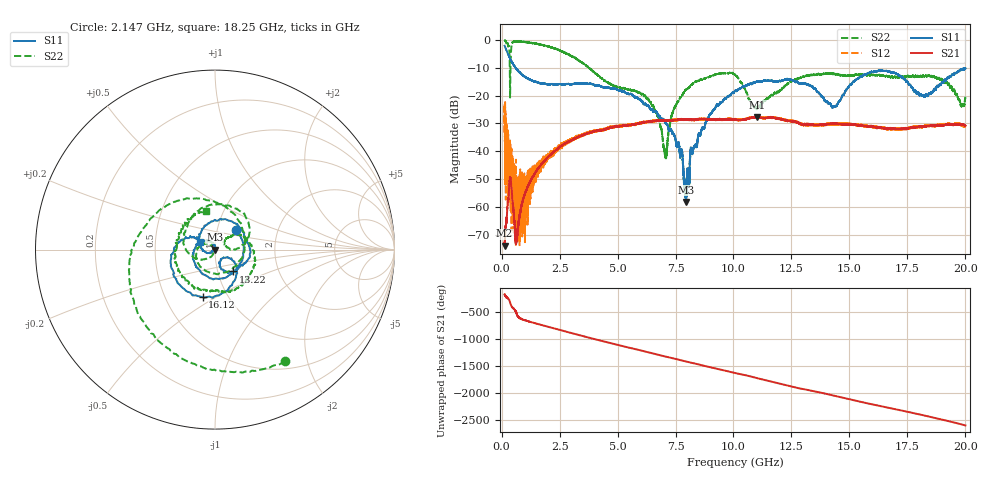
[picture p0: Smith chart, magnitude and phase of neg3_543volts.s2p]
!Created with skrf (http://scikit-rf.org).
# GHz S RI R 50.0
!freq ReS11 ImS11 ReS21 ImS21 ReS12 ImS12 ReS22 ImS22
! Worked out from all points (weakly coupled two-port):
!   20013 points, 130 MHz to 20 GHz, reference 50 ohm
!   highest |S21| = -27.76 dB at 11 GHz (marker M1); lowest = -74.0 dB at 130 MHz (marker M2)
!   lowest |S11| = -58.3 dB at 7.96 GHz (marker M3), VSWR 1.00, Z = 49.9 + j0.0248 ohm
!   |S11| at or under -10 dB: 602.9167 MHz to 603.4454 MHz (528.7 kHz wide, 0.0877 % of centre); 605.946 MHz to 606.1091 MHz (163.1 kHz wide, 0.0269 % of centre); 607.4 MHz to end of sweep
!   |S22| runs from -42.5 to -0.1 dB; largest |S21 - S12| = 0.077
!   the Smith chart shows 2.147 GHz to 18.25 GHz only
!   S11 on the Smith chart (normalised r, x): 2.147 GHz: 1.23, +0.28; 13.22 GHz: 1.18, -0.29; 16.12 GHz: 0.76, -0.43; 18.25 GHz: 0.84, +0.08
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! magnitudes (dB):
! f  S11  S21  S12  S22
! 130 MHz  -2.0  -74.0  -30.0  -0.2
! 358 MHz  -6.5  -49.4  -44.6  -13.9
! 628 MHz  -10.3  -73.3  -53.5  -0.5
! 824 MHz  -12.1  -61.0  -53.1  -0.5
! 2.147 GHz  -15.8  -41.0  -40.8  -2.7
! 3.442 GHz  -15.7  -34.4  -34.6  -7.9
! 6.135 GHz  -23.1  -29.5  -29.4  -20.1
! 6.754 GHz  -27.0  -29.0  -28.9  -27.8
! 7.064 GHz  -29.7  -29.0  -29.0  -41.4
! 7.358 GHz  -33.2  -28.8  -28.7  -26.6
! 7.704 GHz  -40.9  -28.6  -28.6  -20.7
! 7.96 GHz  -58.3  -28.6  -28.6  -17.8
! 8.573 GHz  -33.7  -28.4  -28.5  -14.2
! 10.06 GHz  -18.3  -28.6  -28.5  -12.6
! 11 GHz  -15.0  -27.8  -27.7  -24.9
! 13.22 GHz  -16.0  -30.4  -30.3  -12.6
! 13.38 GHz  -16.6  -30.6  -30.6  -12.6
! 14.35 GHz  -24.0  -30.1  -29.9  -12.0
! 16.12 GHz  -11.3  -31.2  -31.4  -12.6
! 16.69 GHz  -11.3  -31.8  -32.0  -13.0
! 18.25 GHz  -20.2  -31.0  -31.1  -13.1
! 20 GHz  -10.2  -30.8  -31.0  -20.5
